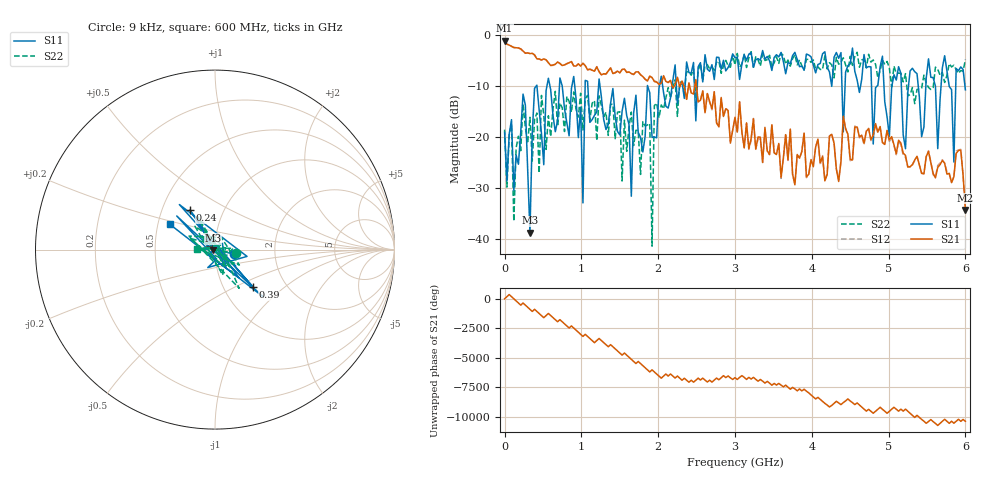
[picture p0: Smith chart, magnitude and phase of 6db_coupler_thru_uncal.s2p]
#  HZ  S  DB  R  50.0
! Rohde & Schwarz ZVL13 2Ports - Version 3.20 - 1303.6509k13 SN: 100953
! Date: 2024-10-09 08:15:34
! Data & Calibration Information:
! Trc1:S11(Cal Off) Trc4:S21(Cal Off) Trc2:S12(Cal Off) Trc3:S22(Cal Off)
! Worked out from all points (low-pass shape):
!   201 points, 9 kHz to 6 GHz, reference 50 ohm
!   highest |S21| = -1.16 dB at 9 kHz (marker M1); lowest = -34.3 dB at 6 GHz (marker M2)
!   |S21| within 3 dB of the highest: start of sweep to 396.8 MHz
!   lowest |S11| = -38.7 dB at 330 MHz (marker M3), VSWR 1.02, Z = 48.9 - j0.281 ohm
!   |S11| at or under -10 dB: start of sweep to 414.8 MHz; 749.5 MHz to 877 MHz (127.5 MHz wide, 15.7 % of centre); 1.241 GHz to 1.86 GHz (618.5 MHz wide, 39.9 % of centre) (the widest 3 of 22)
!   |S22| runs from -41.4 to -3.3 dB; largest |S21 - S12| = 0.0096
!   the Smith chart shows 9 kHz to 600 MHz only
!   S11 on the Smith chart (normalised r, x): 9 kHz: 1.24, -0.06; 240 MHz: 0.69, +0.33; 390 MHz: 1.37, -0.63; 600 MHz: 0.58, +0.18
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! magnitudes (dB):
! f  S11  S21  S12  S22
! 9 kHz  -19.1  -1.2  -1.1  -18.6
! 90.01 MHz  -16.6  -2.3  -2.3  -17.6
! 120 MHz  -30.4  -2.5  -2.6  -36.5
! 240 MHz  -11.6  -3.2  -3.3  -13.6
! 330 MHz  -38.7  -3.7  -3.6  -16.2
! 390 MHz  -10.5  -4.0  -4.0  -16.6
! 510 MHz  -25.4  -4.8  -4.8  -15.8
! 600 MHz  -10.8  -6.1  -6.0  -19.9
! 900 MHz  -8.2  -6.1  -6.1  -11.2
! 1.02 GHz  -32.9  -5.6  -5.6  -18.8
! 1.05 GHz  -9.0  -6.1  -6.1  -12.5
! 1.56 GHz  -12.5  -6.7  -6.7  -16.7
! 1.65 GHz  -31.6  -7.6  -7.7  -15.2
! 1.71 GHz  -11.8  -7.3  -7.3  -18.7
! 1.89 GHz  -11.4  -8.1  -8.1  -17.4
! 1.92 GHz  -20.1  -8.4  -8.4  -41.4
! 1.95 GHz  -20.0  -9.2  -9.0  -13.9
! 2.01 GHz  -10.5  -9.7  -9.6  -16.3
! 3 GHz  -4.5  -16.2  -16.5  -5.9
! 4.02 GHz  -5.9  -25.8  -25.5  -5.0
! 5.01 GHz  -19.9  -20.6  -20.9  -6.5
! 6 GHz  -10.8  -34.3  -34.1  -4.9
